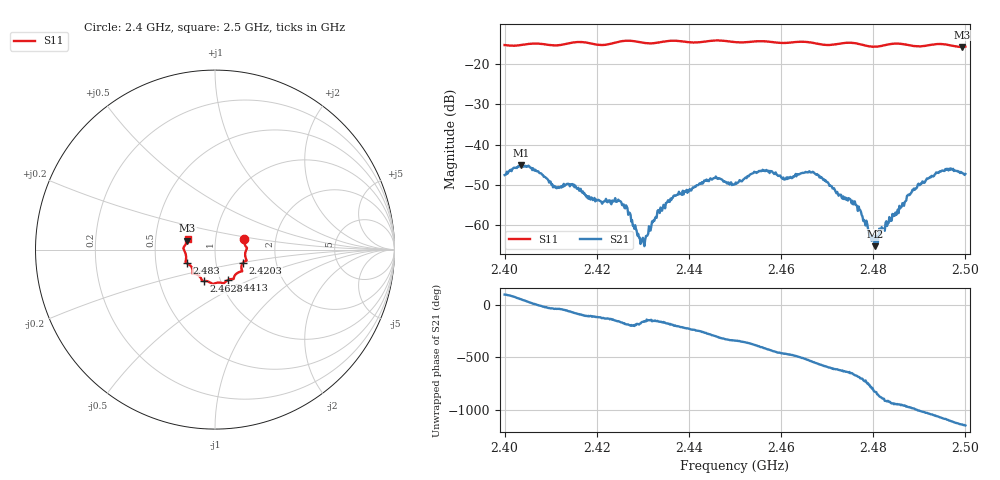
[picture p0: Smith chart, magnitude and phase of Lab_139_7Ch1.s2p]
# Hz S RI R 50
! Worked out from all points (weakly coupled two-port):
!   601 points, 2.4 GHz to 2.5 GHz, reference 50 ohm
!   highest |S21| = -45.19 dB at 2.4035 GHz (marker M1); lowest = -65.2 dB at 2.4803 GHz (marker M2)
!   lowest |S11| = -15.8 dB at 2.4993 GHz (marker M3), VSWR 1.39, Z = 36.5 + j3.72 ohm
!   |S11| at or under -10 dB: start of sweep to end of sweep
!   S12 and S22 are empty: the file has one direction only
!   S11 on the Smith chart (normalised r, x): 2.4 GHz: 1.37, +0.16; 2.4203 GHz: 1.35, -0.21; 2.4413 GHz: 1.09, -0.38; 2.4628 GHz: 0.83, -0.30; 2.483 GHz: 0.72, -0.11; 2.5 GHz: 0.73, +0.09
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2.4e9  0.1612 0.0571  -0.000351 0.00417  0 0  0 0
2.4035e9  0.1694 0.0215  0.00347 0.00427  0 0  0 0
2.411e9  0.1682 -0.0207  0.00233 -0.00193  0 0  0 0
2.416667e9  0.176 -0.0615  -0.00023 -0.00261  0 0  0 0
2.420333e9  0.1553 -0.0743  -0.00102 -0.0018  0 0  0 0
2.425333e9  0.1509 -0.1166  -0.00188 -0.00036  0 0  0 0
2.43e9  0.1324 -0.1263  -0.000667 -0.000207  0 0  0 0
2.433333e9  0.108 -0.1484  -0.00144 -0.000553  0 0  0 0
2.441333e9  0.0745 -0.168  -0.00148 0.00265  0 0  0 0
2.445667e9  0.0504 -0.1881  0.00176 0.00343  0 0  0 0
2.45e9  0.0291 -0.1838  0.00303 0.00107  0 0  0 0
2.455667e9  -0.0108 -0.1906  0.00348 -0.00312  0 0  0 0
2.462833e9  -0.0629 -0.1747  -0.00218 -0.00335  0 0  0 0
2.466667e9  -0.0743 -0.1674  -0.00451 -0.000149  0 0  0 0
2.476e9  -0.125 -0.1299  0.00117 0.00159  0 0  0 0
2.480333e9  -0.1337 -0.0933  -0.000126 -0.000535  0 0  0 0
2.483e9  -0.1548 -0.0767  -0.000945 0.000258  0 0  0 0
2.483333e9  -0.157 -0.0756  -0.00103 0.000276  0 0  0 0
2.492167e9  -0.1707 -0.00565  0.00257 0.00289  0 0  0 0
2.496167e9  -0.1712 0.0175  0.00482 -0.000783  0 0  0 0
2.499333e9  -0.1544 0.0497  0.00263 -0.00356  0 0  0 0
2.5e9  -0.1528 0.0585  0.00199 -0.00383  0 0  0 0
